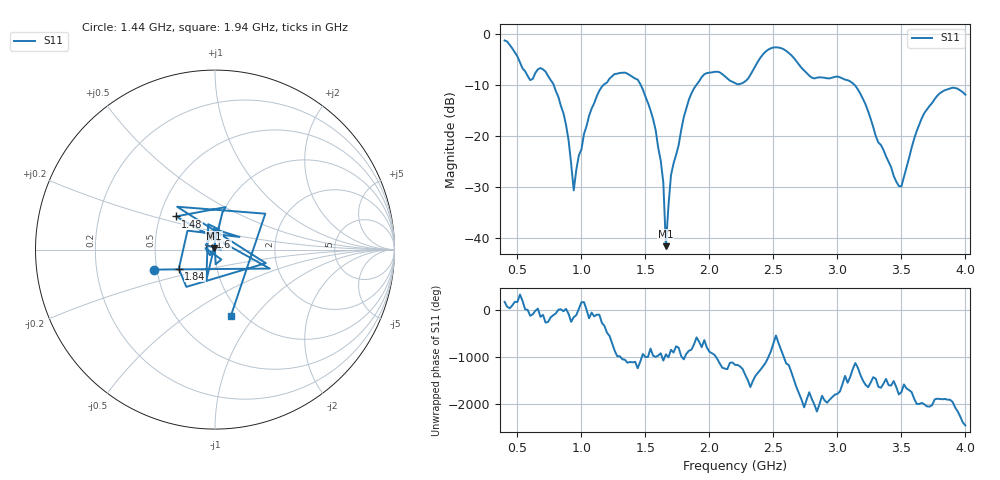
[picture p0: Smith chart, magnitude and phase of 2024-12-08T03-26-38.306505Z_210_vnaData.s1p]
!Created with skrf (http://scikit-rf.org).
# Hz S RI R 50.0
!freq ReS11 ImS11
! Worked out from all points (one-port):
!   181 points, 400 MHz to 4 GHz, reference 50 ohm
!   lowest |S11| = -41.5 dB at 1.66 GHz (marker M1), VSWR 1.02, Z = 49.4 + j0.611 ohm
!   |S11| at or under -10 dB: 783.4 MHz to 1.173 GHz (389.7 MHz wide, 39.8 % of centre); 1.464 GHz to 1.898 GHz (434.7 MHz wide, 25.9 % of centre); 3.134 GHz to end of sweep
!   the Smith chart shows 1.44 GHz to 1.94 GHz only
!   S11 on the Smith chart (normalised r, x): 1.44 GHz: 0.48, -0.12; 1.48 GHz: 0.61, +0.24; 1.6 GHz: 0.94, +0.14; 1.84 GHz: 0.65, -0.15; 1.94 GHz: 0.89, -0.76
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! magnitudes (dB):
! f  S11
! 400 MHz  -1.3
! 600 MHz  -9.0
! 720 MHz  -7.4
! 860 MHz  -15.5
! 900 MHz  -20.9
! 940 MHz  -30.6
! 980 MHz  -23.8
! 1.08 GHz  -14.6
! 1.3 GHz  -7.6
! 1.44 GHz  -9.0
! 1.48 GHz  -10.9
! 1.6 GHz  -22.3
! 1.64 GHz  -29.1
! 1.66 GHz  -41.5
! 1.7 GHz  -27.6
! 1.76 GHz  -21.7
! 1.84 GHz  -12.9
! 1.94 GHz  -8.4
! 2.2 GHz  -9.6
! 2.48 GHz  -2.8
! 2.66 GHz  -4.7
! 2.8 GHz  -8.6
! 3.1 GHz  -9.3
! 3.48 GHz  -29.8
! 3.56 GHz  -24.3
! 3.66 GHz  -16.5
! 3.78 GHz  -12.1
! 4 GHz  -11.9
